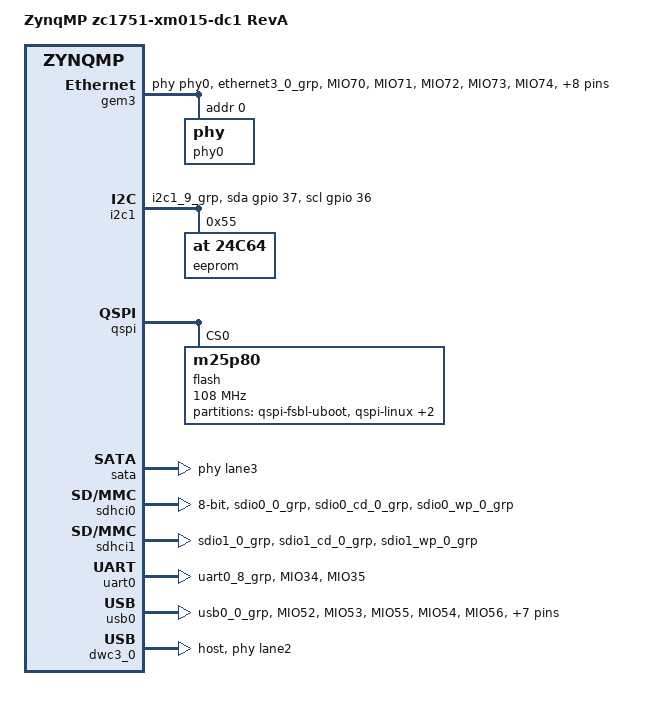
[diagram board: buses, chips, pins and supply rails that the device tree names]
/ {
	model = "ZynqMP zc1751-xm015-dc1 RevA";
	compatible = "xlnx,zynqmp-zc1751", "xlnx,zynqmp";
};

&gem3 {
	phy-handle = <&phy0>;
	pinctrl-names = "default";
	pinctrl-0 = <&pinctrl_gem3_default>;
	phy0: phy@0 {
		reg = <0>;
	};
};

&gpio {
	pinctrl-names = "default";
	pinctrl-0 = <&pinctrl_gpio_default>;
};

&i2c1 {
	pinctrl-names = "default", "gpio";
	pinctrl-0 = <&pinctrl_i2c1_default>;
	pinctrl-1 = <&pinctrl_i2c1_gpio>;
	scl-gpios = <&gpio 36 0>;
	sda-gpios = <&gpio 37 0>;

	eeprom@55 {
		compatible = "at,24c64"; /* 24AA64 */
		reg = <0x55>;
	};
};

&pinctrl0 {
	status = "okay";
	pinctrl_i2c1_default: i2c1-default {
		mux {
			groups = "i2c1_9_grp";
			function = "i2c1";
		};

		conf {
			groups = "i2c1_9_grp";
			bias-pull-up;
			slew-rate = <1>;
			io-standard = <1>;
		};
	};

	pinctrl_i2c1_gpio: i2c1-gpio {
		mux {
			groups = "gpio0_36_grp", "gpio0_37_grp";
			function = "gpio0";
		};

		conf {
			groups = "gpio0_36_grp", "gpio0_37_grp";
			slew-rate = <1>;
			io-standard = <1>;
		};
	};

	pinctrl_uart0_default: uart0-default {
		mux {
			groups = "uart0_8_grp";
			function = "uart0";
		};

		conf {
			groups = "uart0_8_grp";
			slew-rate = <1>;
			io-standard = <1>;
		};

		conf-rx {
			pins = "MIO34";
			bias-high-impedance;
		};

		conf-tx {
			pins = "MIO35";
			bias-disable;
		};
	};

	pinctrl_usb0_default: usb0-default {
		mux {
			groups = "usb0_0_grp";
			function = "usb0";
		};

		conf {
			groups = "usb0_0_grp";
			slew-rate = <1>;
			io-standard = <1>;
		};

		conf-rx {
			pins = "MIO52", "MIO53", "MIO55";
			bias-high-impedance;
		};

		conf-tx {
			pins = "MIO54", "MIO56", "MIO57", "MIO58", "MIO59",
			       "MIO60", "MIO61", "MIO62", "MIO63";
			bias-disable;
		};
	};

	pinctrl_gem3_default: gem3-default {
		mux {
			function = "ethernet3";
			groups = "ethernet3_0_grp";
		};

		conf {
			groups = "ethernet3_0_grp";
			slew-rate = <1>;
			io-standard = <1>;
		};

		conf-rx {
			pins = "MIO70", "MIO71", "MIO72", "MIO73", "MIO74",
									"MIO75";
			bias-high-impedance;
			low-power-disable;
		};

		conf-tx {
			pins = "MIO64", "MIO65", "MIO66", "MIO67", "MIO68",
									"MIO69";
			bias-disable;
			low-power-enable;
		};

		mux-mdio {
			function = "mdio3";
			groups = "mdio3_0_grp";
		};

		conf-mdio {
			groups = "mdio3_0_grp";
			slew-rate = <1>;
			io-standard = <1>;
			bias-disable;
		};
	};

	pinctrl_sdhci0_default: sdhci0-default {
		mux {
			groups = "sdio0_0_grp";
			function = "sdio0";
		};

		conf {
			groups = "sdio0_0_grp";
			slew-rate = <1>;
			io-standard = <1>;
			bias-disable;
		};

		mux-cd {
			groups = "sdio0_cd_0_grp";
			function = "sdio0_cd";
		};

		conf-cd {
			groups = "sdio0_cd_0_grp";
			bias-high-impedance;
			bias-pull-up;
			slew-rate = <1>;
			io-standard = <1>;
		};

		mux-wp {
			groups = "sdio0_wp_0_grp";
			function = "sdio0_wp";
		};

		conf-wp {
			groups = "sdio0_wp_0_grp";
			bias-high-impedance;
			bias-pull-up;
			slew-rate = <1>;
			io-standard = <1>;
		};
	};

	pinctrl_sdhci1_default: sdhci1-default {
		mux {
			groups = "sdio1_0_grp";
			function = "sdio1";
		};

		conf {
			groups = "sdio1_0_grp";
			slew-rate = <1>;
			io-standard = <1>;
			bias-disable;
		};

		mux-cd {
			groups = "sdio1_cd_0_grp";
			function = "sdio1_cd";
		};

		conf-cd {
			groups = "sdio1_cd_0_grp";
			bias-high-impedance;
			bias-pull-up;
			slew-rate = <1>;
			io-standard = <1>;
		};

		mux-wp {
			groups = "sdio1_wp_0_grp";
			function = "sdio1_wp";
		};

		conf-wp {
			groups = "sdio1_wp_0_grp";
			bias-high-impedance;
			bias-pull-up;
			slew-rate = <1>;
			io-standard = <1>;
		};
	};

	pinctrl_gpio_default: gpio-default {
		mux {
			function = "gpio0";
			groups = "gpio0_38_grp";
		};

		conf {
			groups = "gpio0_38_grp";
			bias-disable;
			slew-rate = <1>;
			io-standard = <1>;
		};
	};
};

&qspi {
	flash@0 {
		compatible = "m25p80"; /* Micron MT25QU512ABB8ESF */
		#address-cells = <1>;
		#size-cells = <1>;
		reg = <0x0>;
		spi-tx-bus-width = <1>;
		spi-rx-bus-width = <4>;
		spi-max-frequency = <108000000>; /* Based on DC1 spec */
		partition@qspi-fsbl-uboot { /* for testing purpose */
			label = "qspi-fsbl-uboot";
			reg = <0x0 0x100000>;
		};
		partition@qspi-linux { /* for testing purpose */
			label = "qspi-linux";
			reg = <0x100000 0x500000>;
		};
		partition@qspi-device-tree { /* for testing purpose */
			label = "qspi-device-tree";
			reg = <0x600000 0x20000>;
		};
		partition@qspi-rootfs { /* for testing purpose */
			label = "qspi-rootfs";
			reg = <0x620000 0x5E0000>;
		};
	};
};

&sata {
	ceva,p0-cominit-params = /bits/ 8 <0x1B 0x4D 0x18 0x28>;
	ceva,p0-comwake-params = /bits/ 8 <0x06 0x19 0x08 0x0E>;
	ceva,p0-burst-params = /bits/ 8 <0x13 0x08 0x4A 0x06>;
	ceva,p0-retry-params = /bits/ 16 <0x96A4 0x3FFC>;
	ceva,p1-cominit-params = /bits/ 8 <0x1B 0x4D 0x18 0x28>;
	ceva,p1-comwake-params = /bits/ 8 <0x06 0x19 0x08 0x0E>;
	ceva,p1-burst-params = /bits/ 8 <0x13 0x08 0x4A 0x06>;
	ceva,p1-retry-params = /bits/ 16 <0x96A4 0x3FFC>;
	phy-names = "sata-phy";
	phys = <&lane3 1 1 3 150000000>;
};

/* eMMC */
&sdhci0 {
	pinctrl-names = "default";
	pinctrl-0 = <&pinctrl_sdhci0_default>;
	bus-width = <8>;
};

/* SD1 with level shifter */
&sdhci1 {
	pinctrl-names = "default";
	pinctrl-0 = <&pinctrl_sdhci1_default>;
};

&uart0 {
	pinctrl-names = "default";
	pinctrl-0 = <&pinctrl_uart0_default>;
};

/* ULPI SMSC USB3320 */
&usb0 {
	pinctrl-names = "default";
	pinctrl-0 = <&pinctrl_usb0_default>;
};

&dwc3_0 {
	dr_mode = "host";
	snps,usb3_lpm_capable;
	phy-names = "usb3-phy";
	phys = <&lane2 4 0 2 26000000>;
};
